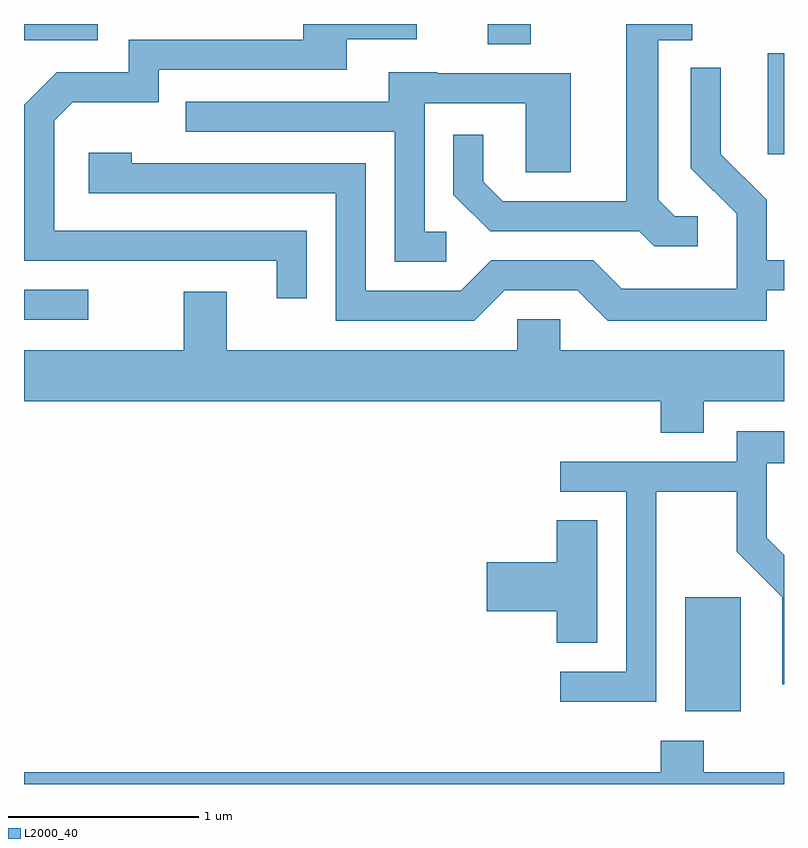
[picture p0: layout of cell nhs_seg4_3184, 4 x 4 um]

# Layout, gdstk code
import gdstk
lib = gdstk.Library(unit=1e-6, precision=1e-09)
def R(c, l, rs):  # rectangles x0, y0, x1, y1
    for r in rs: c.add(gdstk.rectangle(r[:2], r[2:], *l))
def P(c, l, *ps):  # polygons
    for p in ps: c.add(gdstk.Polygon(p, *l))
L2000_40 = (2000, 40)

nhs_seg4_3184 = lib.new_cell('nhs_seg4_3184')
R(nhs_seg4_3184, L2000_40, [(281.091,1366.366,281.384,1366.964), (277.611,1368.426,277.948,1368.584), (281.526,1369.296,281.611,1369.829), (280.051,1369.876,280.279,1369.982), (277.611,1369.896,277.998,1369.982)])
P(nhs_seg4_3184, L2000_40, [(279.099,1368.894),(277.769,1368.894),(277.769,1369.474),(277.867,1369.571),(278.319,1369.571),(278.319,1369.741),(279.309,1369.741),(279.309,1369.901),(279.678,1369.901),(279.678,1369.982),(279.081,1369.982),(279.081,1369.899),(278.161,1369.899),(278.161,1369.729),(277.784,1369.729),(277.611,1369.557),(277.611,1368.736),(278.941,1368.736),(278.941,1368.538),(279.099,1368.538)],
  [(281.158,1368.969),(281.037,1368.969),(280.949,1369.057),(280.949,1369.896),(281.128,1369.896),(281.128,1369.982),(280.781,1369.982),(280.781,1369.049),(280.132,1369.049),(280.029,1369.152),(280.029,1369.398),(279.871,1369.398),(279.871,1369.084),(280.064,1368.891),(280.849,1368.891),(280.929,1368.811),(281.158,1368.811)],
  [(280.142,1368.581),(280.524,1368.581),(280.684,1368.421),(281.519,1368.421),(281.519,1368.581),(281.611,1368.581),(281.611,1368.739),(281.519,1368.739),(281.519,1369.057),(281.279,1369.297),(281.279,1369.753),(281.121,1369.753),(281.121,1369.224),(281.361,1368.984),(281.361,1368.589),(280.757,1368.589),(280.607,1368.739),(280.069,1368.739),(279.909,1368.579),(279.409,1368.579),(279.409,1369.249),(278.179,1369.249),(278.179,1369.304),(277.951,1369.304),(277.951,1369.091),(279.251,1369.091),(279.251,1368.421),(279.982,1368.421)],
  [(279.833,1368.889),(279.719,1368.889),(279.719,1369.566),(280.251,1369.566),(280.251,1369.201),(280.489,1369.201),(280.489,1369.724),(279.785,1369.724),(279.785,1369.729),(279.531,1369.729),(279.531,1369.574),(278.463,1369.574),(278.463,1369.416),(279.561,1369.416),(279.561,1368.731),(279.833,1368.731)],
  [(281.189,1367.996),(281.611,1367.996),(281.611,1368.264),(280.434,1368.264),(280.434,1368.429),(280.206,1368.429),(280.206,1368.264),(278.679,1368.264),(278.679,1368.574),(278.451,1368.574),(278.451,1368.264),(277.611,1368.264),(277.611,1367.996),(280.961,1367.996),(280.961,1367.831),(281.189,1367.831)],
  [(280.939,1367.521),(281.361,1367.521),(281.361,1367.204),(281.601,1366.964),(281.601,1366.508),(281.611,1366.508),(281.611,1367.185),(281.519,1367.277),(281.519,1367.671),(281.611,1367.671),(281.611,1367.839),(281.361,1367.839),(281.361,1367.679),(280.433,1367.679),(280.433,1367.521),(280.781,1367.521),(280.781,1366.574),(280.433,1366.574),(280.433,1366.416),(280.939,1366.416)],
  [(280.629,1367.369),(280.416,1367.369),(280.416,1367.149),(280.046,1367.149),(280.046,1366.891),(280.416,1366.891),(280.416,1366.726),(280.629,1366.726)],
  [(281.611,1366.044),(281.189,1366.044),(281.189,1366.209),(280.961,1366.209),(280.961,1366.044),(277.611,1366.044),(277.611,1365.982),(281.611,1365.982)])

lib.write_gds('nhs_seg4_3184.gds')
